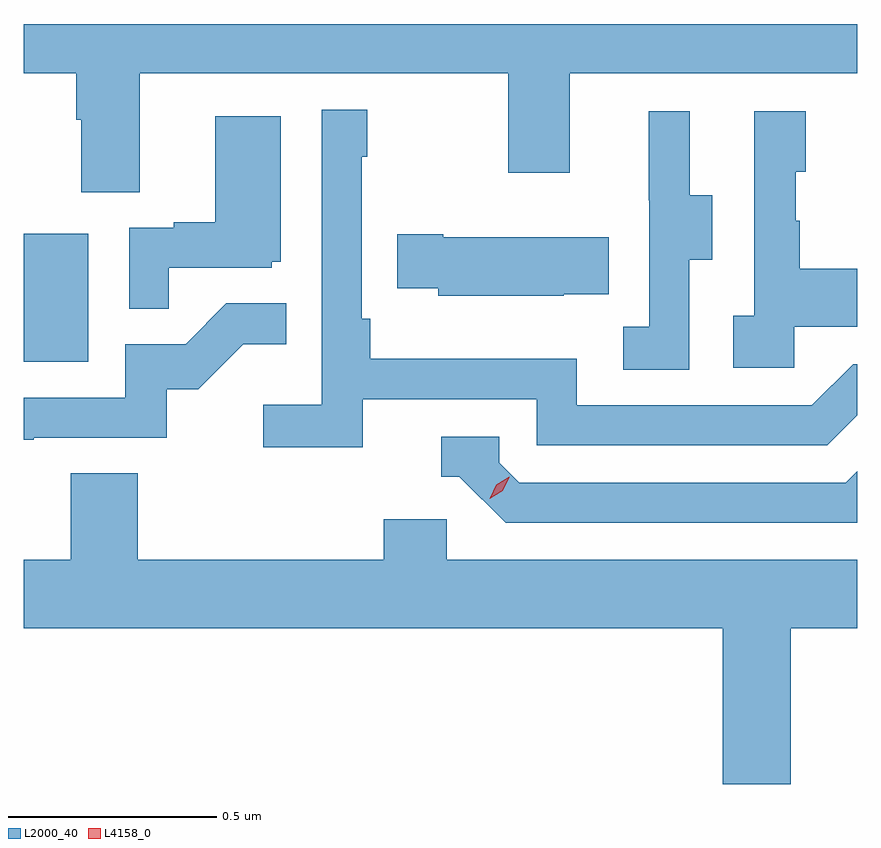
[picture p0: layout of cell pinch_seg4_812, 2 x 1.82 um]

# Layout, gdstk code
import gdstk
lib = gdstk.Library(unit=1e-6, precision=1e-09)
def R(c, l, rs):  # rectangles x0, y0, x1, y1
    for r in rs: c.add(gdstk.rectangle(r[:2], r[2:], *l))
def P(c, l, *ps):  # polygons
    for p in ps: c.add(gdstk.Polygon(p, *l))
L2000_40 = (2000, 40)
L4158_0 = (4158, 0)

pinch_seg4_812 = lib.new_cell('pinch_seg4_812')
R(pinch_seg4_812, L2000_40, [(822.671,816.108,822.826,816.415)])
P(pinch_seg4_812, L2000_40, [(822.949,816.8),(823.834,816.8),(823.834,816.561),(823.981,816.561),(823.981,816.8),(824.671,816.8),(824.671,816.918),(822.671,816.918),(822.671,816.8),(822.797,816.8),(822.797,816.688),(822.809,816.688),(822.809,816.514),(822.949,816.514)],
  [(823.484,816.018),(823.902,816.018),(823.902,815.907),(824.599,815.907),(824.671,815.979),(824.671,816.102),(824.661,816.102),(824.562,816.003),(823.998,816.003),(823.998,816.115),(823.502,816.115),(823.502,816.211),(823.482,816.211),(823.482,816.599),(823.495,816.599),(823.495,816.712),(823.386,816.712),(823.386,816.004),(823.245,816.004),(823.245,815.902),(823.484,815.902)],
  [(824.52,816.191),(824.671,816.191),(824.671,816.331),(824.533,816.331),(824.533,816.446),(824.523,816.446),(824.523,816.564),(824.548,816.564),(824.548,816.709),(824.424,816.709),(824.424,816.218),(824.373,816.218),(824.373,816.093),(824.52,816.093)],
  [(824.268,816.352),(824.323,816.352),(824.323,816.507),(824.269,816.507),(824.269,816.709),(824.171,816.709),(824.171,816.495),(824.172,816.495),(824.172,816.191),(824.109,816.191),(824.109,816.088),(824.268,816.088)],
  [(823.019,816.333),(823.266,816.333),(823.266,816.348),(823.288,816.348),(823.288,816.697),(823.13,816.697),(823.13,816.442),(823.031,816.442),(823.031,816.429),(822.924,816.429),(822.924,816.235),(823.019,816.235)],
  [(823.967,816.269),(824.075,816.269),(824.075,816.406),(823.678,816.406),(823.678,816.414),(823.567,816.414),(823.567,816.284),(823.665,816.284),(823.665,816.266),(823.967,816.266)],
  [(822.695,815.925),(823.014,815.925),(823.014,816.042),(823.09,816.042),(823.197,816.149),(823.301,816.149),(823.301,816.248),(823.157,816.248),(823.059,816.15),(822.915,816.15),(822.915,816.021),(822.671,816.021),(822.671,815.92),(822.695,815.92)],
  [(824.671,815.845),(824.643,815.817),(823.86,815.817),(823.812,815.865),(823.812,815.928),(823.673,815.928),(823.673,815.832),(823.716,815.832),(823.827,815.721),(824.671,815.721)],
  [(824.512,815.468),(824.671,815.468),(824.671,815.632),(823.686,815.632),(823.686,815.73),(823.535,815.73),(823.535,815.632),(822.944,815.632),(822.944,815.84),(822.784,815.84),(822.784,815.632),(822.671,815.632),(822.671,815.468),(824.348,815.468),(824.348,815.094),(824.512,815.094)])
P(pinch_seg4_812, L4158_0, [(823.789,815.779),(823.789,815.779),(823.805,815.812),(823.836,815.831),(823.836,815.831),(823.836,815.83),(823.82,815.798),(823.789,815.779)])

lib.write_gds('pinch_seg4_812.gds')
